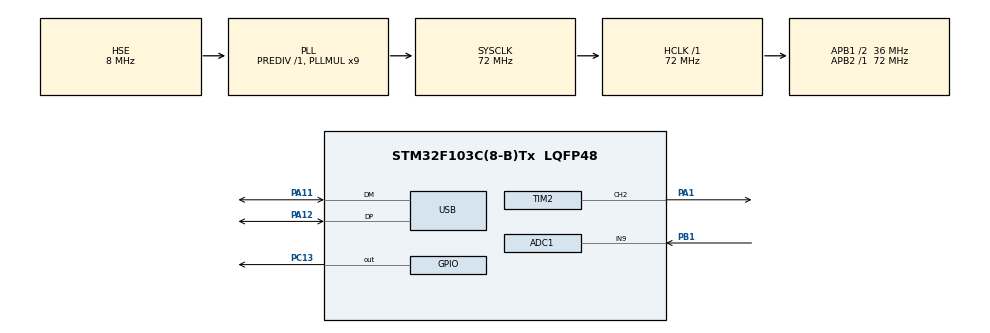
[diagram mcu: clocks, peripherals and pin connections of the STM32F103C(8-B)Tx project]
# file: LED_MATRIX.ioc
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ADC1.Channel-0\#ChannelRegularConversion=ADC_CHANNEL_9
ADC1.NbrOfConversionFlag=1
ADC1.Rank-0\#ChannelRegularConversion=1
ADC1.SamplingTime-0\#ChannelRegularConversion=ADC_SAMPLETIME_1CYCLE_5
ADC1.master=1
Dma.Request0=TIM2_CH2/CH4
Dma.TIM2_CH2/CH4.0.Direction=DMA_MEMORY_TO_PERIPH
Dma.TIM2_CH2/CH4.0.Instance=DMA1_Channel7
Dma.TIM2_CH2/CH4.0.MemDataAlignment=DMA_MDATAALIGN_HALFWORD
Dma.TIM2_CH2/CH4.0.MemInc=DMA_MINC_ENABLE
Dma.TIM2_CH2/CH4.0.Mode=DMA_NORMAL
Dma.TIM2_CH2/CH4.0.PeriphDataAlignment=DMA_PDATAALIGN_HALFWORD
Dma.TIM2_CH2/CH4.0.PeriphInc=DMA_PINC_DISABLE
Dma.TIM2_CH2/CH4.0.Priority=DMA_PRIORITY_LOW
Mcu.Family=STM32F1
Mcu.Name=STM32F103C(8-B)Tx
Mcu.Package=LQFP48
NVIC.DMA1_Channel7_IRQn=true\:0\:0\:false\:false\:true\:false
NVIC.PriorityGroup=NVIC_PRIORITYGROUP_4
NVIC.USB_LP_CAN1_RX0_IRQn=true\:0\:0\:false\:false\:true\:false
PA1.Signal=S_TIM2_CH2
PA11.Mode=Device
PA11.Signal=USB_DM
PA12.Mode=Device
PA12.Signal=USB_DP
PA13.Mode=Serial_Wire
PA13.Signal=SYS_JTMS-SWDIO
PA14.Mode=Serial_Wire
PA14.Signal=SYS_JTCK-SWCLK
PB1.Signal=ADCx_IN9
PC13-TAMPER-RTC.Signal=GPIO_Output
PD0-OSC_IN.Mode=HSE-External-Oscillator
PD0-OSC_IN.Signal=RCC_OSC_IN
PD1-OSC_OUT.Mode=HSE-External-Oscillator
PD1-OSC_OUT.Signal=RCC_OSC_OUT
ProjectManager.HeapSize=0x200
ProjectManager.StackSize=0x400
ProjectManager.TargetToolchain=MDK-ARM V5
RCC.ADCPresc=RCC_ADCPCLK2_DIV6
RCC.AHBFreq_Value=72000000
RCC.APB1CLKDivider=RCC_HCLK_DIV2
RCC.APB1Freq_Value=36000000
RCC.APB1TimFreq_Value=72000000
RCC.APB2Freq_Value=72000000
RCC.APB2TimFreq_Value=72000000
RCC.EnbaleCSS=true
RCC.HCLKFreq_Value=72000000
RCC.PLLMUL=RCC_PLL_MUL9
RCC.PLLSourceVirtual=RCC_PLLSOURCE_HSE
RCC.SYSCLKFreq_VALUE=72000000
RCC.SYSCLKSource=RCC_SYSCLKSOURCE_PLLCLK
RCC.USBFreq_Value=48000000
RCC.USBPrescaler=RCC_USBCLKSOURCE_PLL_DIV1_5
SH.ADCx_IN9.0=ADC1_IN9,IN9
SH.S_TIM2_CH2.0=TIM2_CH2,PWM Generation2 CH2
TIM2.Channel-PWM\ Generation2\ CH2=TIM_CHANNEL_2
TIM2.Period=89
USB_DEVICE.CLASS_NAME_FS=CDC
USB_DEVICE.VirtualMode=Cdc
USB_DEVICE.VirtualModeFS=Cdc_FS
VP_TIM2_VS_ClockSourceINT.Mode=Internal
VP_USB_DEVICE_VS_USB_DEVICE_CDC_FS.Mode=CDC_FS
board=LED_MATRIX

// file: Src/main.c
/**
  ******************************************************************************
  * @file           : main.c
  * @brief          : Main program body
  ******************************************************************************
  * This notice applies to any and all portions of this file
  * that are not between comment pairs USER CODE BEGIN and
  * USER CODE END. Other portions of this file, whether
  * inserted by the user or by software development tools
  * are owned by their respective copyright owners.
  *
  * Copyright (c) 2019 STMicroelectronics International N.V.
  * All rights reserved.
  *
  * Redistribution and use in source and binary forms, with or without
  * modification, are permitted, provided that the following conditions are met:
  *
  * 1. Redistribution of source code must retain the above copyright notice,
  *    this list of conditions and the following disclaimer.
  * 2. Redistributions in binary form must reproduce the above copyright notice,
  *    this list of conditions and the following disclaimer in the documentation
  *    and/or other materials provided with the distribution.
  * 3. Neither the name of STMicroelectronics nor the names of other
  *    contributors to this software may be used to endorse or promote products
  *    derived from this software without specific written permission.
  * 4. This software, including modifications and/or derivative works of this
  *    software, must execute solely and exclusively on microcontroller or
  *    microprocessor devices manufactured by or for STMicroelectronics.
  * 5. Redistribution and use of this software other than as permitted under
  *    this license is void and will automatically terminate your rights under
  *    this license.
  *
  * THIS SOFTWARE IS PROVIDED BY STMICROELECTRONICS AND CONTRIBUTORS "AS IS"
  * AND ANY EXPRESS, IMPLIED OR STATUTORY WARRANTIES, INCLUDING, BUT NOT
  * LIMITED TO, THE IMPLIED WARRANTIES OF MERCHANTABILITY, FITNESS FOR A
  * PARTICULAR PURPOSE AND NON-INFRINGEMENT OF THIRD PARTY INTELLECTUAL PROPERTY
  * RIGHTS ARE DISCLAIMED TO THE FULLEST EXTENT PERMITTED BY LAW. IN NO EVENT
  * SHALL STMICROELECTRONICS OR CONTRIBUTORS BE LIABLE FOR ANY DIRECT, INDIRECT,
  * INCIDENTAL, SPECIAL, EXEMPLARY, OR CONSEQUENTIAL DAMAGES (INCLUDING, BUT NOT
  * LIMITED TO, PROCUREMENT OF SUBSTITUTE GOODS OR SERVICES; LOSS OF USE, DATA,
  * OR PROFITS; OR BUSINESS INTERRUPTION) HOWEVER CAUSED AND ON ANY THEORY OF
  * LIABILITY, WHETHER IN CONTRACT, STRICT LIABILITY, OR TORT (INCLUDING
  * NEGLIGENCE OR OTHERWISE) ARISING IN ANY WAY OUT OF THE USE OF THIS SOFTWARE,
  * EVEN IF ADVISED OF THE POSSIBILITY OF SUCH DAMAGE.
  *
  ******************************************************************************
  */
#include "main.h"
#include "stm32f1xx_hal.h"
#include "usb_device.h"

/* USER CODE BEGIN Includes */

#include "ws2812b.h"
#include "rayzUtils.h"

#include <string.h>
#include <stdlib.h>
#include <stdint.h>
#include <stdbool.h>
#include <math.h>

#include "usbd_cdc_if.h"

uint32_t timeOldWatchDog;

float bright = 1;

extern uint16_t buffer[BUF_SIZE];
extern uint8_t RED_PIXEL;
extern uint8_t GREEN_PIXEL;
extern uint8_t BLUE_PIXEL;

/* USER CODE END Includes */

ADC_HandleTypeDef hadc1;

TIM_HandleTypeDef htim2;
DMA_HandleTypeDef hdma_tim2_ch2_ch4;

/* USER CODE BEGIN PV */
/* Private variables ---------------------------------------------------------*/

/* USER CODE END PV */

void SystemClock_Config(void);
static void MX_GPIO_Init(void);
static void MX_DMA_Init(void);
static void MX_TIM2_Init(void);
static void MX_ADC1_Init(void);

void HAL_TIM_MspPostInit(TIM_HandleTypeDef *htim);

/* USER CODE BEGIN PFP */
/* Private function prototypes -----------------------------------------------*/

/* USER CODE END PFP */

int main(void)
{

  /* MCU Configuration----------------------------------------------------------*/

  /* Reset of all peripherals, Initializes the Flash interface and the Systick. */
  HAL_Init();

  /* Configure the system clock */
  SystemClock_Config();

  /* Initialize all configured peripherals */
  MX_GPIO_Init();
  MX_DMA_Init();
  MX_TIM2_Init();
  MX_ADC1_Init();
  MX_USB_DEVICE_Init();
  /* USER CODE BEGIN 2 */

	LED_Init();
	DWT_Init();
	HAL_TIM_PWM_Start_DMA(&htim2, TIM_CHANNEL_2, (uint32_t *)&buffer, BUF_SIZE);

	char str[100];
	uint8_t end[]="\r\n";
	uint64_t tickEffect = HAL_GetTick();
	//uint32_t hue = 0;
	uint8_t typeEffect = 0;
	uint32_t tickEffectChange = HAL_GetTick();

	//=========Sparklz Routine=========

  /* USER CODE END 2 */

  /* Infinite loop */
  /* USER CODE BEGIN WHILE */
  while (1)
  {

		if(HAL_GetTick() > tickEffectChange + 10000)
		{
			typeEffect++;
			if(typeEffect > 3) typeEffect = 0;
			LED_Init();
			tickEffectChange = HAL_GetTick();
		}

		switch(typeEffect)
		{
			case 0:
				matrixRoutine(75);
				break;
			case 1:
				effectDiagonalRainbow(5, 196);
				break;
			case 2:
				snowRoutine(10, 85);
				break;
			case 3:
				rainbowCycle(196, 4, 30);
				break;
		}

		//stripFill(0, 255 * bright, 255);
		//LED_Init();
		//HAL_Delay(150);
		//setHexPixel(0, 0xFF00FF);
		//showLed();

		/*for(uint16_t angle=0; angle<360; angle++)
		{
			setHexPixel(0, HSV(angle, 255, 255));
			showLed();

			sprintf(str, "HSV:\t");
		  CDC_Transmit_FS((unsigned char*)str, strlen(str));
		  HAL_Delay(1);
			sprintf(str, "%d", HSV(angle, 255, 255));
		  CDC_Transmit_FS((unsigned char*)str, strlen(str));
		  HAL_Delay(1);
			sprintf(str, "\n");
		  CDC_Transmit_FS((unsigned char*)str, strlen(str));
		  HAL_Delay(1);

			HAL_Delay(25);
		}*/

		//effectDiagonalRainbow(50, 196);

		//effect_Sparkls(10);

		//Ball(0x800000, 0, -150, 0.88);
		//matrixRoutine(50);
		//snowRoutine(10, 75);
		//HAL_Delay(25);

		//rainbowCycle(255, 4, 9);

		//setHexPixel_XY(0, 3, 0xFFFFFF);
		//showLed();

		if(HAL_GetTick() >= timeOldWatchDog + 75)
		{
			HAL_GPIO_TogglePin(GPIOC, GPIO_PIN_13);
			timeOldWatchDog = HAL_GetTick();
		}

  /* USER CODE END WHILE */

  }

}

void SystemClock_Config(void)
{

  RCC_OscInitTypeDef RCC_OscInitStruct;
  RCC_ClkInitTypeDef RCC_ClkInitStruct;
  RCC_PeriphCLKInitTypeDef PeriphClkInit;

    /**Initializes the CPU, AHB and APB busses clocks
    */
  RCC_OscInitStruct.OscillatorType = RCC_OSCILLATORTYPE_HSE;
  RCC_OscInitStruct.HSEState = RCC_HSE_ON;
  RCC_OscInitStruct.HSEPredivValue = RCC_HSE_PREDIV_DIV1;
  RCC_OscInitStruct.HSIState = RCC_HSI_ON;
  RCC_OscInitStruct.PLL.PLLState = RCC_PLL_ON;
  RCC_OscInitStruct.PLL.PLLSource = RCC_PLLSOURCE_HSE;
  RCC_OscInitStruct.PLL.PLLMUL = RCC_PLL_MUL9;
  if (HAL_RCC_OscConfig(&RCC_OscInitStruct) != HAL_OK)
  {
    _Error_Handler(__FILE__, __LINE__);
  }

    /**Initializes the CPU, AHB and APB busses clocks
    */
  RCC_ClkInitStruct.ClockType = RCC_CLOCKTYPE_HCLK|RCC_CLOCKTYPE_SYSCLK
                              |RCC_CLOCKTYPE_PCLK1|RCC_CLOCKTYPE_PCLK2;
  RCC_ClkInitStruct.SYSCLKSource = RCC_SYSCLKSOURCE_PLLCLK;
  RCC_ClkInitStruct.AHBCLKDivider = RCC_SYSCLK_DIV1;
  RCC_ClkInitStruct.APB1CLKDivider = RCC_HCLK_DIV2;
  RCC_ClkInitStruct.APB2CLKDivider = RCC_HCLK_DIV1;

  if (HAL_RCC_ClockConfig(&RCC_ClkInitStruct, FLASH_LATENCY_2) != HAL_OK)
  {
    _Error_Handler(__FILE__, __LINE__);
  }

  PeriphClkInit.PeriphClockSelection = RCC_PERIPHCLK_ADC|RCC_PERIPHCLK_USB;
  PeriphClkInit.AdcClockSelection = RCC_ADCPCLK2_DIV6;
  PeriphClkInit.UsbClockSelection = RCC_USBCLKSOURCE_PLL_DIV1_5;
  if (HAL_RCCEx_PeriphCLKConfig(&PeriphClkInit) != HAL_OK)
  {
    _Error_Handler(__FILE__, __LINE__);
  }

    /**Enables the Clock Security System
    */
  HAL_RCC_EnableCSS();

    /**Configure the Systick interrupt time
    */
  HAL_SYSTICK_Config(HAL_RCC_GetHCLKFreq()/1000);

    /**Configure the Systick
    */
  HAL_SYSTICK_CLKSourceConfig(SYSTICK_CLKSOURCE_HCLK);

  /* SysTick_IRQn interrupt configuration */
  HAL_NVIC_SetPriority(SysTick_IRQn, 0, 0);
}

/* ADC1 init function */
static void MX_ADC1_Init(void)
{

  ADC_ChannelConfTypeDef sConfig;

    /**Common config
    */
  hadc1.Instance = ADC1;
  hadc1.Init.ScanConvMode = ADC_SCAN_DISABLE;
  hadc1.Init.ContinuousConvMode = DISABLE;
  hadc1.Init.DiscontinuousConvMode = DISABLE;
  hadc1.Init.ExternalTrigConv = ADC_SOFTWARE_START;
  hadc1.Init.DataAlign = ADC_DATAALIGN_RIGHT;
  hadc1.Init.NbrOfConversion = 1;
  if (HAL_ADC_Init(&hadc1) != HAL_OK)
  {
    _Error_Handler(__FILE__, __LINE__);
  }

    /**Configure Regular Channel
    */
  sConfig.Channel = ADC_CHANNEL_9;
  sConfig.Rank = ADC_REGULAR_RANK_1;
  sConfig.SamplingTime = ADC_SAMPLETIME_1CYCLE_5;
  if (HAL_ADC_ConfigChannel(&hadc1, &sConfig) != HAL_OK)
  {
    _Error_Handler(__FILE__, __LINE__);
  }

}

/* TIM2 init function */
static void MX_TIM2_Init(void)
{

  TIM_ClockConfigTypeDef sClockSourceConfig;
  TIM_MasterConfigTypeDef sMasterConfig;
  TIM_OC_InitTypeDef sConfigOC;

  htim2.Instance = TIM2;
  htim2.Init.Prescaler = 0;
  htim2.Init.CounterMode = TIM_COUNTERMODE_UP;
  htim2.Init.Period = 89;
  htim2.Init.ClockDivision = TIM_CLOCKDIVISION_DIV1;
  htim2.Init.AutoReloadPreload = TIM_AUTORELOAD_PRELOAD_DISABLE;
  if (HAL_TIM_Base_Init(&htim2) != HAL_OK)
  {
    _Error_Handler(__FILE__, __LINE__);
  }

  sClockSourceConfig.ClockSource = TIM_CLOCKSOURCE_INTERNAL;
  if (HAL_TIM_ConfigClockSource(&htim2, &sClockSourceConfig) != HAL_OK)
  {
    _Error_Handler(__FILE__, __LINE__);
  }

  if (HAL_TIM_PWM_Init(&htim2) != HAL_OK)
  {
    _Error_Handler(__FILE__, __LINE__);
  }

  sMasterConfig.MasterOutputTrigger = TIM_TRGO_RESET;
  sMasterConfig.MasterSlaveMode = TIM_MASTERSLAVEMODE_DISABLE;
  if (HAL_TIMEx_MasterConfigSynchronization(&htim2, &sMasterConfig) != HAL_OK)
  {
    _Error_Handler(__FILE__, __LINE__);
  }

  sConfigOC.OCMode = TIM_OCMODE_PWM1;
  sConfigOC.Pulse = 0;
  sConfigOC.OCPolarity = TIM_OCPOLARITY_HIGH;
  sConfigOC.OCFastMode = TIM_OCFAST_DISABLE;
  if (HAL_TIM_PWM_ConfigChannel(&htim2, &sConfigOC, TIM_CHANNEL_2) != HAL_OK)
  {
    _Error_Handler(__FILE__, __LINE__);
  }

  HAL_TIM_MspPostInit(&htim2);

}

static void MX_DMA_Init(void)
{
  /* DMA controller clock enable */
  __HAL_RCC_DMA1_CLK_ENABLE();

  /* DMA interrupt init */
  /* DMA1_Channel7_IRQn interrupt configuration */
  HAL_NVIC_SetPriority(DMA1_Channel7_IRQn, 0, 0);
  HAL_NVIC_EnableIRQ(DMA1_Channel7_IRQn);

}

/** Configure pins as
        * Analog
        * Input
        * Output
        * EVENT_OUT
        * EXTI
*/
static void MX_GPIO_Init(void)
{

  GPIO_InitTypeDef GPIO_InitStruct;

  /* GPIO Ports Clock Enable */
  __HAL_RCC_GPIOC_CLK_ENABLE();
  __HAL_RCC_GPIOD_CLK_ENABLE();
  __HAL_RCC_GPIOA_CLK_ENABLE();
  __HAL_RCC_GPIOB_CLK_ENABLE();

  /*Configure GPIO pin Output Level */
  HAL_GPIO_WritePin(GPIOC, GPIO_PIN_13, GPIO_PIN_RESET);

  /*Configure GPIO pin : PC13 */
  GPIO_InitStruct.Pin = GPIO_PIN_13;
  GPIO_InitStruct.Mode = GPIO_MODE_OUTPUT_PP;
  GPIO_InitStruct.Speed = GPIO_SPEED_FREQ_LOW;
  HAL_GPIO_Init(GPIOC, &GPIO_InitStruct);

}

void _Error_Handler(char *file, int line)
{
  while(1)
  {
  }
}

/************************ (C) COPYRIGHT STMicroelectronics *****END OF FILE****/
